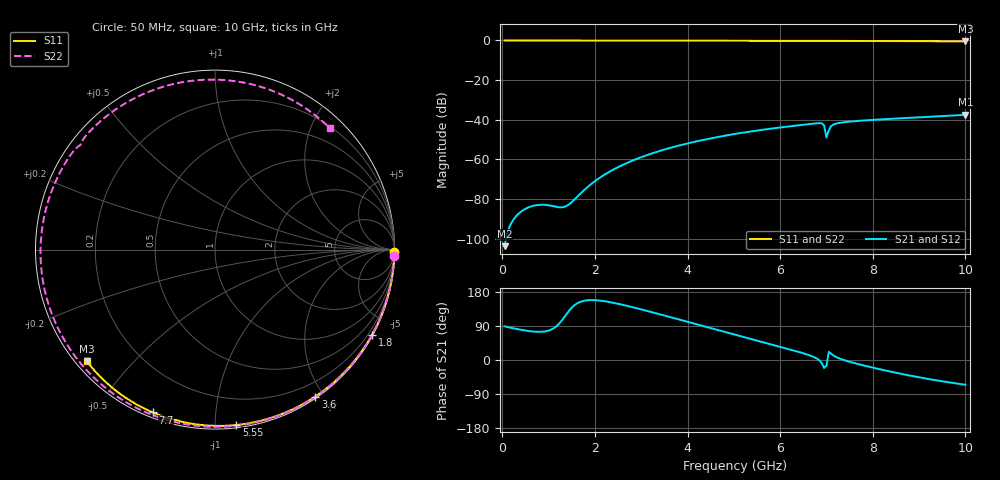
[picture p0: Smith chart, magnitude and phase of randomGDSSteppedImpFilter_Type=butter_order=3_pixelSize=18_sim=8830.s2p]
! freq	dB(S11)	phase(S11)	dB(S12)	phase(S12)
!  dB(S21)	phase(S21)	dB(S22)	phase(S22)
!S-par simulation data
#  GHz  S  DB  R 50
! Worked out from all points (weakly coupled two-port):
!   200 points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, 50 MHz to 10 GHz, reference 50 ohm
!   highest |S21| = -37.49 dB at 10 GHz (marker M1); lowest = -103.7 dB at 50 MHz (marker M2)
!   lowest |S11| = -0.5 dB at 10 GHz (marker M3), VSWR 36.76, Z = 1.55 - j18.6 ohm
!   |S11| at or under -10 dB: nowhere
!   |S22| runs from -0.6 to 0.0 dB; largest |S21 - S12| = 0
!   S11 on the Smith chart (normalised r, x): 50 MHz: open; 1.8 GHz: 0.03, -3.94; 3.6 GHz: 0.02, -1.89; 5.55 GHz: 0.02, -1.13; 7.7 GHz: 0.02, -0.69; 10 GHz: 0.03, -0.37
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0.05  -0.00 -0.8  -103.74 88.7  -103.74 88.7  -0.00 -2.0
0.75  -0.02 -12.0  -83.02 74.4  -83.02 74.4  -0.04 -29.3
1.55  -0.03 -24.6  -80.40 143.7  -80.40 143.7  -0.07 -59.2
1.75  -0.04 -27.7  -75.82 155.8  -75.82 155.8  -0.08 -66.3
1.8  -0.04 -28.5  -74.76 157.0  -74.76 157.0  -0.08 -68.0
2.1  -0.04 -33.2  -69.30 156.9  -69.30 156.9  -0.09 -78.4
2.45  -0.05 -38.5  -64.48 149.7  -64.48 149.7  -0.11 -90.0
3.4  -0.07 -52.8  -55.71 120.7  -55.71 120.7  -0.14 -119.5
3.6  -0.07 -55.7  -54.34 114.1  -54.34 114.1  -0.15 -125.3
4.35  -0.09 -66.5  -50.09 89.3  -50.09 89.3  -0.18 -146.5
5.05  -0.12 -76.3  -47.05 66.2  -47.05 66.2  -0.21 -165.5
5.55  -0.14 -83.1  -45.26 49.8  -45.26 49.8  -0.24 -178.8
6.7  -0.19 -98.3  -41.99 9.2  -41.99 9.2  -0.32 150.1
6.9  -0.20 -100.9  -41.77 -8.4  -41.77 -8.4  -0.36 144.4
6.95  -0.21 -101.5  -42.89 -21.1  -42.89 -21.1  -0.40 143.0
7  -0.23 -102.1  -48.96 -14.5  -48.96 -14.5  -0.45 142.1
7.05  -0.22 -102.7  -45.36 21.5  -45.36 21.5  -0.39 140.9
7.15  -0.22 -104.0  -42.38 11.9  -42.38 11.9  -0.36 138.0
7.7  -0.26 -110.9  -40.54 -11.3  -40.54 -11.3  -0.39 122.0
8.35  -0.31 -119.0  -39.56 -29.7  -39.56 -29.7  -0.44 102.4
9.2  -0.38 -129.3  -38.56 -50.0  -38.56 -50.0  -0.52 74.9
10  -0.47 -139.1  -37.49 -65.3  -37.49 -65.3  -0.62 46.6
